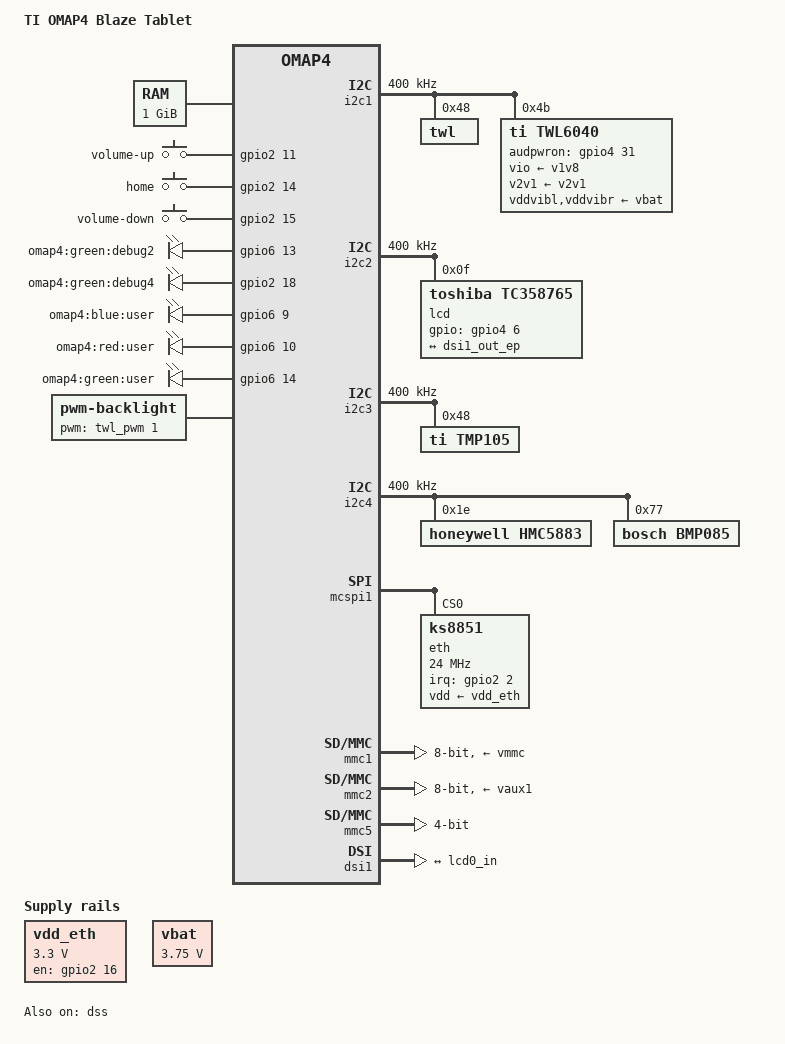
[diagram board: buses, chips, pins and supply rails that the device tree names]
/*
 * Copyright (C) 2013 Texas Instruments Incorporated - http://www.ti.com/
 *
 * Author: Ruslan Bilovol <ruslan.bilovol@ti.com>
 *
 * based on omap4-sdp.dts
 *
 * This program is free software; you can redistribute it and/or modify
 * it under the terms of the GNU General Public License version 2 as
 * published by the Free Software Foundation.
 */
/dts-v1/;

#include "omap443x.dtsi"
#include "elpida_ecb240abacn.dtsi"

/ {
	model = "TI OMAP4 Blaze Tablet";
	compatible = "ti,omap4-blazetablet", "ti,omap4430", "ti,omap4";

	memory {
		device_type = "memory";
		reg = <0x80000000 0x40000000>; /* 1 GB */
	};

	vdd_eth: fixedregulator-vdd-eth {
		compatible = "regulator-fixed";
		regulator-name = "VDD_ETH";
		regulator-min-microvolt = <3300000>;
		regulator-max-microvolt = <3300000>;
		gpio = <&gpio2 16 0>;  /* gpio line 48 */
		enable-active-high;
		regulator-boot-on;
	};

	vbat: fixedregulator-vbat {
		compatible = "regulator-fixed";
		regulator-name = "VBAT";
		regulator-min-microvolt = <3750000>;
		regulator-max-microvolt = <3750000>;
		regulator-boot-on;
	};

	gpio_keys {
		compatible = "gpio-keys";

		volume_up {
			label = "volume-up";
			linux,code = <115>;	/* KEY_VOLUMEUP */
			gpios = <&gpio2 11 GPIO_ACTIVE_HIGH>;	/* 43 */
			gpio-key,wakeup;
		};

		home {
			label = "home";
			linux,code = <102>;	/* KEY_HOME */
			gpios = <&gpio2 14 GPIO_ACTIVE_HIGH>;	/* 46 */
			gpio-key,wakeup;
		};

		volume_down {
			label = "volume-down";
			linux,code = <114>;	/* KEY_VOLUMEDOWN */
			gpios = <&gpio2 15 GPIO_ACTIVE_HIGH>;	/* 47 */
			gpio-key,wakeup;
		};
	};

	leds {
		compatible = "gpio-leds";

		debug2 {
			label = "omap4:green:debug2";
			gpios = <&gpio6 13 GPIO_ACTIVE_HIGH>; /* 173 */
		};

		debug4 {
			label = "omap4:green:debug4";
			gpios = <&gpio2 18 GPIO_ACTIVE_HIGH>; /* 50 */
		};

		user1 {
			label = "omap4:blue:user";
			gpios = <&gpio6 9 GPIO_ACTIVE_HIGH>; /* 169 */
		};

		user2 {
			label = "omap4:red:user";
			gpios = <&gpio6 10 GPIO_ACTIVE_HIGH>; /* 170 */
		};

		user3 {
			label = "omap4:green:user";
			gpios = <&gpio6 14 GPIO_ACTIVE_HIGH>; /* 174 */
		};
	};

	sound {
		compatible = "ti,abe-twl6040";
		ti,model = "BlazeTablet";

		ti,jack-detection = <1>;
		ti,mclk-freq = <38400000>;

		ti,mcpdm = <&mcpdm>;
		ti,dmic = <&dmic>;

		ti,twl6040 = <&twl6040>;

		/* Audio routing */
		ti,audio-routing =
			"Headset Stereophone", "HSOL",
			"Headset Stereophone", "HSOR",
			"Ext Spk", "HFL",
			"Ext Spk", "HFR",
			"Line Out", "AUXL",
			"Line Out", "AUXR",
			"Vibrator", "VIBRAL",
			"Vibrator", "VIBRAR",
			"HSMIC", "Headset Mic",
			"Headset Mic", "Headset Mic Bias",
			"MAINMIC", "Main Handset Mic",
			"Main Handset Mic", "Main Mic Bias",
			"SUBMIC", "Sub Handset Mic",
			"Sub Handset Mic", "Main Mic Bias",
			"AFML", "Line In",
			"AFMR", "Line In",
			"DMic", "Digital Mic",
			"Digital Mic", "Digital Mic1 Bias";
	};
};

&omap4_pmx_wkup {
	pinctrl-names = "default";
	pinctrl-0 = <
			&twl6030_wkup_pins
	>;

	twl6030_wkup_pins: pinmux_twl6030_wkup_pins {
		pinctrl-single,pins = <
			0x14 (PIN_OUTPUT | MUX_MODE2)		/* fref_clk0_out.sys_drm_msecure */
		>;
	};
};

&omap4_pmx_core {
	pinctrl-names = "default";
	pinctrl-0 = <
			&twl6030_pins
			&twl6040_pins
			&mcpdm_pins
			&dmic_pins
			&mcbsp1_pins
			&mcbsp2_pins
			&dss_hdmi_pins
			&tpd12s015_pins
			&gpio_keys_pins
			&leds_pins
	>;

	gpio_keys_pins: pinmux_gpio_keys_pins {
		pinctrl-single,pins = <
			0x26 (PIN_INPUT_PULLUP | MUX_MODE3)	/* gpmc_a19.gpio_43 */
			0x2C (PIN_INPUT_PULLUP | MUX_MODE3)	/* gpmc_a22.gpio_46 */
			0x2E (PIN_INPUT_PULLUP | MUX_MODE3)	/* gpmc_a22.gpio_47 */
		>;
	};

	leds_pins: pinmux_led_pins {
		pinctrl-single,pins = <
			0x34 (PIN_OUTPUT | MUX_MODE3)	/* gpmc_ncs0.gpio_50 */
			0x138 (PIN_OUTPUT | MUX_MODE3)	/* usbb2_hsic_data.gpio_169 */
			0x13a (PIN_OUTPUT | MUX_MODE3)	/* usbb2_hsic_strobe.gpio_170 */
			0x140 (PIN_OUTPUT | MUX_MODE3)	/* kpd_col5.gpio_173 */
			0x142 (PIN_OUTPUT | MUX_MODE3)	/* kpd_col5.gpio_174 */
		>;
	};

	uart2_pins: pinmux_uart2_pins {
		pinctrl-single,pins = <
			0xd8 (PIN_INPUT_PULLUP | MUX_MODE0)	/* uart2_cts.uart2_cts */
			0xda (PIN_OUTPUT | MUX_MODE0)		/* uart2_rts.uart2_rts */
			0xdc (PIN_INPUT_PULLUP | MUX_MODE0)	/* uart2_rx.uart2_rx */
			0xde (PIN_OUTPUT | MUX_MODE0)		/* uart2_tx.uart2_tx */
		>;
	};

	uart3_pins: pinmux_uart3_pins {
		pinctrl-single,pins = <
			0x100 (PIN_INPUT_PULLUP | MUX_MODE0)	/* uart3_cts_rctx.uart3_cts_rctx */
			0x102 (PIN_OUTPUT | MUX_MODE0)		/* uart3_rts_sd.uart3_rts_sd */
			0x104 (PIN_INPUT | MUX_MODE0)		/* uart3_rx_irrx.uart3_rx_irrx */
			0x106 (PIN_OUTPUT | MUX_MODE0)		/* uart3_tx_irtx.uart3_tx_irtx */
		>;
	};

	uart4_pins: pinmux_uart4_pins {
		pinctrl-single,pins = <
			0x11c (PIN_INPUT | MUX_MODE0)		/* uart4_rx.uart4_rx */
			0x11e (PIN_OUTPUT | MUX_MODE0)		/* uart4_tx.uart4_tx */
		>;
	};

	twl6030_pins: pinmux_twl6030_pins {
		pinctrl-single,pins = <
			0x15e (WAKEUP_EN | PIN_INPUT_PULLUP | MUX_MODE0)	/* sys_nirq1.sys_nirq1 */
		>;
	};

	twl6040_pins: pinmux_twl6040_pins {
		pinctrl-single,pins = <
			0xe0 (PIN_OUTPUT | MUX_MODE3)		/* hdq_sio.gpio_127 */
			0x160 (PIN_INPUT | MUX_MODE0)		/* sys_nirq2.sys_nirq2 */
		>;
	};

	mcpdm_pins: pinmux_mcpdm_pins {
		pinctrl-single,pins = <
			0xc6 (PIN_INPUT_PULLDOWN | MUX_MODE0)	/* abe_pdm_ul_data.abe_pdm_ul_data */
			0xc8 (PIN_INPUT_PULLDOWN | MUX_MODE0)	/* abe_pdm_dl_data.abe_pdm_dl_data */
			0xca (PIN_INPUT_PULLUP | MUX_MODE0)	/* abe_pdm_frame.abe_pdm_frame */
			0xcc (PIN_INPUT_PULLDOWN | MUX_MODE0)	/* abe_pdm_lb_clk.abe_pdm_lb_clk */
			0xce (PIN_INPUT_PULLDOWN | MUX_MODE0)	/* abe_clks.abe_clks */
		>;
	};

	dmic_pins: pinmux_dmic_pins {
		pinctrl-single,pins = <
			0xd0 (PIN_OUTPUT | MUX_MODE0)		/* abe_dmic_clk1.abe_dmic_clk1 */
			0xd2 (PIN_INPUT | MUX_MODE0)		/* abe_dmic_din1.abe_dmic_din1 */
			0xd4 (PIN_INPUT | MUX_MODE0)		/* abe_dmic_din2.abe_dmic_din2 */
			0xd6 (PIN_INPUT | MUX_MODE0)		/* abe_dmic_din3.abe_dmic_din3 */
		>;
	};

	mcbsp1_pins: pinmux_mcbsp1_pins {
		pinctrl-single,pins = <
			0xbe (PIN_INPUT | MUX_MODE0)		/* abe_mcbsp1_clkx.abe_mcbsp1_clkx */
			0xc0 (PIN_INPUT_PULLDOWN | MUX_MODE0)	/* abe_mcbsp1_dr.abe_mcbsp1_dr */
			0xc2 (PIN_OUTPUT_PULLDOWN | MUX_MODE0)	/* abe_mcbsp1_dx.abe_mcbsp1_dx */
			0xc4 (PIN_INPUT | MUX_MODE0)		/* abe_mcbsp1_fsx.abe_mcbsp1_fsx */
		>;
	};

	mcbsp2_pins: pinmux_mcbsp2_pins {
		pinctrl-single,pins = <
			0xb6 (PIN_INPUT | MUX_MODE0)		/* abe_mcbsp2_clkx.abe_mcbsp2_clkx */
			0xb8 (PIN_INPUT_PULLDOWN | MUX_MODE0)	/* abe_mcbsp2_dr.abe_mcbsp2_dr */
			0xba (PIN_OUTPUT_PULLDOWN | MUX_MODE0)	/* abe_mcbsp2_dx.abe_mcbsp2_dx */
			0xbc (PIN_INPUT | MUX_MODE0)		/* abe_mcbsp2_fsx.abe_mcbsp2_fsx */
		>;
	};

	mcspi1_pins: pinmux_mcspi1_pins {
		pinctrl-single,pins = <
			0xf2 (PIN_INPUT | MUX_MODE0)		/*  mcspi1_clk.mcspi1_clk */
			0xf4 (PIN_INPUT | MUX_MODE0)		/*  mcspi1_somi.mcspi1_somi */
			0xf6 (PIN_INPUT | MUX_MODE0)		/*  mcspi1_simo.mcspi1_simo */
			0xf8 (PIN_INPUT | MUX_MODE0)		/*  mcspi1_cs0.mcspi1_cs0 */
			0xfa (PIN_INPUT | MUX_MODE0)		/*  mcspi1_cs1.mcspi1_cs1 */
		>;
	};

	dss_hdmi_pins: pinmux_dss_hdmi_pins {
		pinctrl-single,pins = <
			0x5a (PIN_INPUT_PULLUP | MUX_MODE0)	/* hdmi_cec.hdmi_cec */
			0x5c (PIN_INPUT_PULLUP | MUX_MODE0)	/* hdmi_scl.hdmi_scl */
			0x5e (PIN_INPUT_PULLUP | MUX_MODE0)	/* hdmi_sda.hdmi_sda */
		>;
	};

	tpd12s015_pins: pinmux_tpd12s015_pins {
		pinctrl-single,pins = <
			0x22 (PIN_OUTPUT | MUX_MODE3)		/* gpmc_a17.gpio_41 */
			0x48 (PIN_OUTPUT | MUX_MODE3)		/* gpmc_nbe1.gpio_60 */
			0x58 (PIN_INPUT_PULLDOWN | MUX_MODE3)	/* hdmi_hpd.gpio_63 */
		>;
	};

	i2c1_pins: pinmux_i2c1_pins {
		pinctrl-single,pins = <
			0xe2 (PIN_INPUT_PULLUP | MUX_MODE0)	/* i2c1_scl */
			0xe4 (PIN_INPUT_PULLUP | MUX_MODE0)	/* i2c1_sda */
		>;
	};

	i2c2_pins: pinmux_i2c2_pins {
		pinctrl-single,pins = <
			0xe6 (PIN_INPUT_PULLUP | MUX_MODE0)	/* i2c2_scl */
			0xe8 (PIN_INPUT_PULLUP | MUX_MODE0)	/* i2c2_sda */
		>;
	};

	i2c3_pins: pinmux_i2c3_pins {
		pinctrl-single,pins = <
			0xea (PIN_INPUT_PULLUP | MUX_MODE0)	/* i2c3_scl */
			0xec (PIN_INPUT_PULLUP | MUX_MODE0)	/* i2c3_sda */
		>;
	};

	i2c4_pins: pinmux_i2c4_pins {
		pinctrl-single,pins = <
			0xee (PIN_INPUT_PULLUP | MUX_MODE0)	/* i2c4_scl */
			0xf0 (PIN_INPUT_PULLUP | MUX_MODE0)	/* i2c4_sda */
		>;
	};
};

&i2c1 {
	pinctrl-names = "default";
	pinctrl-0 = <&i2c1_pins>;

	clock-frequency = <400000>;

	twl: twl@48 {
		reg = <0x48>;
		/* SPI = 0, IRQ# = 7, 4 = active high level-sensitive */
		interrupts = <GIC_SPI 7 IRQ_TYPE_LEVEL_HIGH>; /* IRQ_SYS_1N cascaded to gic */
		interrupt-parent = <&gic>;
	};

	twl6040: twl@4b {
		compatible = "ti,twl6040";
		reg = <0x4b>;
		/* SPI = 0, IRQ# = 119, 4 = active high level-sensitive */
		interrupts = <GIC_SPI 119 IRQ_TYPE_LEVEL_HIGH>; /* IRQ_SYS_2N cascaded to gic */
		interrupt-parent = <&gic>;
		ti,audpwron-gpio = <&gpio4 31 0>;  /* gpio line 127 */

		vio-supply = <&v1v8>;
		v2v1-supply = <&v2v1>;
		enable-active-high;

		/* regulators for vibra motor */
		vddvibl-supply = <&vbat>;
		vddvibr-supply = <&vbat>;

		vibra {
			/* Vibra driver, motor resistance parameters */
			ti,vibldrv-res = <8>;
			ti,vibrdrv-res = <3>;
			ti,viblmotor-res = <10>;
			ti,vibrmotor-res = <10>;
			ti,vddvibl-uV = <0>;	/* fixed volt supply - VBAT */
			ti,vddvibr-uV = <0>;	/* fixed volt supply - VBAT */
		};
	};
};

#include "twl6030.dtsi"

&i2c2 {
	pinctrl-names = "default";
	pinctrl-0 = <&i2c2_pins>;

	clock-frequency = <400000>;

	lcd: tc358765@f {
		compatible = "toshiba,tc358765";
		reg = <0xf>;

		gpios = <&gpio4 6 0>;	/* 102, reset */

		lcd0_in: endpoint {
			remote-endpoint = <&dsi1_out_ep>;
		};
	};
};

&i2c3 {
	pinctrl-names = "default";
	pinctrl-0 = <&i2c3_pins>;

	clock-frequency = <400000>;

	/*
	 * Temperature Sensor
	 * http://www.ti.com/lit/ds/symlink/tmp105.pdf
	 */
	tmp105@48 {
		compatible = "ti,tmp105";
		reg = <0x48>;
	};
};

&i2c4 {
	pinctrl-names = "default";
	pinctrl-0 = <&i2c4_pins>;

	clock-frequency = <400000>;

	/*
	 * 3-Axis Digital Compass
	 * https://www.sparkfun.com/products/10426
	 */
	hmc5883@1e {
		compatible = "honeywell,hmc5883";
		reg = <0x1e>;
	};

	/*
	 * BMP085 digital pressure sensor
	 */
	bmp085@77 {
		compatible = "bosch,bmp085";
		reg = <0x77>;
	};
};

&mcspi1 {
	pinctrl-names = "default";
	pinctrl-0 = <&mcspi1_pins>;

	eth@0 {
		compatible = "ks8851";
		spi-max-frequency = <24000000>;
		reg = <0>;
		interrupt-parent = <&gpio2>;
		interrupts = <2 IRQ_TYPE_LEVEL_LOW>; /* gpio line 34 */
		vdd-supply = <&vdd_eth>;
	};

	/*
	 * Dummy interface for debug UART multiplexor
	 */
	quart@1 {
		compatible = "dummy";
		spi-max-frequency = <24000000>;
		reg = <1>;
	};
};

&mmc1 {
	vmmc-supply = <&vmmc>;
	bus-width = <8>;
};

&mmc2 {
	vmmc-supply = <&vaux1>;
	bus-width = <8>;
	ti,non-removable;
};

&mmc3 {
	status = "disabled";
};

&mmc4 {
	status = "disabled";
};

&mmc5 {
	bus-width = <4>;
	ti,non-removable;
};

&emif1 {
	cs1-used;
	device-handle = <&elpida_ECB240ABACN>;
};

&emif2 {
	cs1-used;
	device-handle = <&elpida_ECB240ABACN>;
};

&uart2 {
	pinctrl-names = "default";
	pinctrl-0 = <&uart2_pins>;
};

&uart3 {
	pinctrl-names = "default";
	pinctrl-0 = <&uart3_pins>;
};

&uart4 {
	pinctrl-names = "default";
	pinctrl-0 = <&uart4_pins>;
};

&mcbsp3 {
	status = "disabled";
};

&twl_usb_comparator {
	usb-supply = <&vusb>;
};

&usb_otg_hs {
	interface-type = <1>;
	mode = <3>;
	power = <100>;
};

&dss {
	status = "ok";
};

&dsi1 {
	status = "ok";
	vdd-supply = <&vcxio>;

	dsi1_out_ep: endpoint {
		remote-endpoint = <&lcd0_in>;
		lanes = <0 1 2 3 4 5 6 7 8 9>;
	};
};

/ {
	aliases {
		display0 = &lcd;
	};

	backlight {
		compatible = "pwm-backlight";
		pwms = <&twl_pwm 1 7812500>;
		brightness-levels = <
				0 10 20 30 40
				50 60 70 80 90
				100 110 120 127
				>;
		default-brightness-level = <13>;
	};
};
